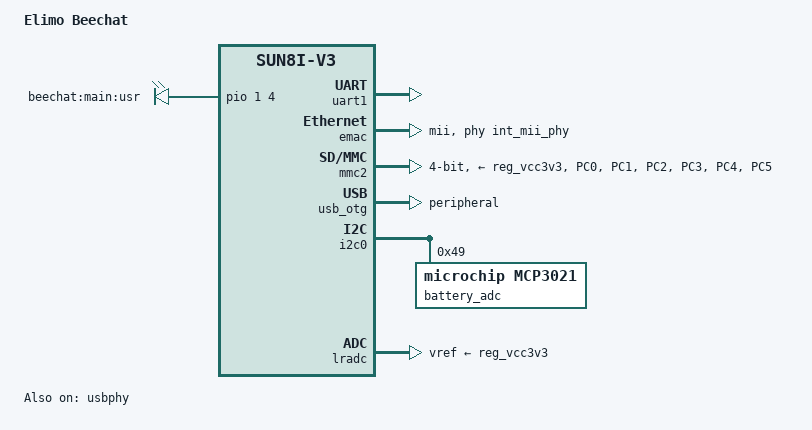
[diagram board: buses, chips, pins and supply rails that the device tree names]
// SPDX-License-Identifier: (GPL-2.0+ OR MIT)
/*
 * Copyright (C) 2021 Matteo Scordino <matteo@elimo.io>
 */

/dts-v1/;
#include "sun8i-s3-elimo-impetus.dtsi"
#include <dt-bindings/input/input.h>

/ {
	model = "Elimo Beechat";
	compatible = "elimo,beechat", "elimo,impetus", "sochip,s3",
    "allwinner,sun8i-v3";

	aliases {
		serial0 = &uart0;
		serial1 = &uart1;
	};

	chosen {
		stdout-path = "serial0:115200n8";
	};

	leds {
		compatible = "gpio-leds";

		main_led {
			label = "beechat:main:usr";
			gpios = <&pio 1 4 GPIO_ACTIVE_HIGH>; /* PB4 */
		};
	};

};

&uart1 {
	pinctrl-0 = <&uart1_pg_pins>;
	pinctrl-names = "default";
	status = "okay";
};

&emac {
	phy-handle = <&int_mii_phy>;
	phy-mode = "mii";
	status = "okay";
};

&pio {
	mmc2_pins: mmc2-pins {
		pins = "PC0", "PC1", "PC2", "PC3",
		       "PC4", "PC5";
		function = "mmc2";
		drive-strength = <30>;
		bias-pull-up;
    };
};

&mmc2{
	broken-cd;
	bus-width = <4>;
	vmmc-supply = <&reg_vcc3v3>;
    pinctrl-names = "default";
	pinctrl-0 = <&mmc2_pins>;
    status = "okay";
};

&usb_otg {
    dr_mode = "peripheral";
    status = "okay";
};

&usbphy {
    status = "okay";
};

&i2c0 {
    status = "okay";

    battery_adc: mcp3021@49 {
        compatible = "microchip,mcp3021";
        reg = <0x49>;

        reference-voltage-microvolt = <4200000>;
        status = "okay";
    };
};

&lradc {
    vref-supply = <&reg_vcc3v3>;
    status = "okay";

    button-200 {
        label = "Enter";
        linux,code = <KEY_ENTER>;
        channel = <0>;
        voltage = <992000>;
    };
};
